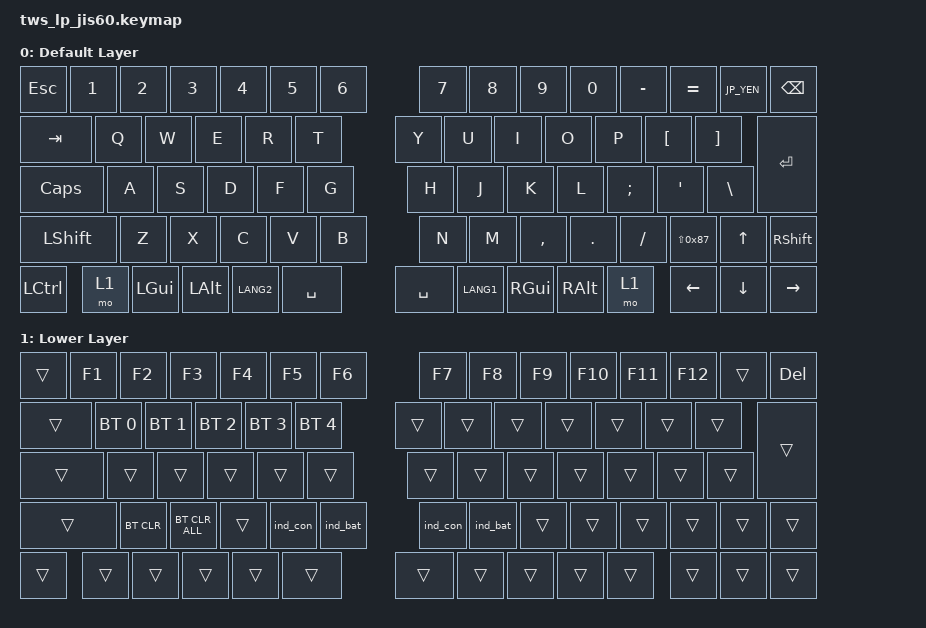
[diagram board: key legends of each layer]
#include <behaviors.dtsi>
#include <dt-bindings/zmk/keys.h>
#include <dt-bindings/zmk/bt.h>
#include <behaviors/rgbled_widget.dtsi>

// JIS keyboard layout conversion definitions
// Reference: https://note.com/kloir_z/n/n314e739f03a1
#define JP_CARET EQUAL       // ^
#define JP_AT LEFT_BRACKET   // @
#define JP_COLON SINGLE_QUOTE // :
#define JP_LBRACKET RIGHT_BRACKET // [
#define JP_RBRACKET BACKSLASH     // ]
#define JP_YEN      0x89          // ¥
#define JP_UNDSCR   LS(0x87)      // _

/ {
    keymap {
        compatible = "zmk,keymap";

        default_layer {
            display-name = "Default Layer";
// -----------------------------------------------------------------------------------------
// | ESC |   1   |  2  |  3  |  4  |  5  |  6  |     |  7  |  8  |  9  |  0  |  -  |  ^  |  \  |  BSPC |
//       |  TAB  |  Q  |  W  |  E  |  R  |  T  |     |  Y  |  U  |  I  |  O  |  P  |  @  |  [  | ENTER |
//       | CAPS  |  A  |  S  |  D  |  F  |  G  |     |  H  |  J  |  K  |  L  |  ;  |  :  |  ]  |
//       | SHIFT |  Z  |  X  |  C  |  V  |  B  |     |  N  |  M  |  ,  |  .  |  /  |  \  |  ↑  | SHIFT |
//       |  CTRL |  Fn | GUI | ALT |EISU | SPC |     | SPC | KANA| GUI | ALT |  Fn |  ←  |  ↓  |   →   |
            bindings = <
&kp ESC &kp N1    &kp N2 &kp N3   &kp N4   &kp N5    &kp N6       &kp N7    &kp N8    &kp N9    &kp N0   &kp MINUS &kp JP_CARET &kp JP_YEN      &kp BSPC
        &kp TAB   &kp Q  &kp W    &kp E    &kp R     &kp T        &kp Y     &kp U     &kp I     &kp O    &kp P     &kp JP_AT    &kp JP_LBRACKET &kp ENTER
        &kp CAPS  &kp A  &kp S    &kp D    &kp F     &kp G        &kp H     &kp J     &kp K     &kp L    &kp SEMI  &kp JP_COLON &kp JP_RBRACKET
        &kp LSHFT &kp Z  &kp X    &kp C    &kp V     &kp B        &kp N     &kp M     &kp COMMA &kp DOT  &kp FSLH  &kp JP_UNDSCR &kp UP          &kp RSHFT
        &kp LCTRL &mo 1  &kp LGUI &kp LALT &kp LANG2 &kp SPACE    &kp SPACE &kp LANG1 &kp RGUI  &kp RALT &mo 1     &kp LEFT     &kp DOWN        &kp RIGHT
            >;
        };

        lower_layer {
            display-name = "Lower Layer";
// -----------------------------------------------------------------------------------------
// |     |   F1  |  F2 |  F3 |  F4 |  F5 |  F6 |       |  F7 |  F8 |  F9 | F10 | F11 | F12 |     | DEL |
//       |       | BT1 | BT2 | BT3 | BT4 | BT5 |       |     |     |     |     |     |     |     |     |
//       |       |     |     |     |     |     |       |     |     |     |     |     |     |     |
//       |       | CLR |CLRAL|     | CON | BAT |       | CON | BAT |     |     |     |     |     |
//       |       |     |     |     |     |     |       |     |     |     |     |     |     |     |
            bindings = <
&trans  &kp F1 &kp F2       &kp F3         &kp F4       &kp F5       &kp F6             &kp F7   &kp F8   &kp F9 &kp F10 &kp F11 &kp F12 &trans  &kp DEL
        &trans &bt BT_SEL 0 &bt BT_SEL 1   &bt BT_SEL 2 &bt BT_SEL 3 &bt BT_SEL 4       &trans   &trans   &trans &trans  &trans  &trans  &trans  &trans
        &trans &trans       &trans         &trans       &trans       &trans             &trans   &trans   &trans &trans  &trans  &trans  &trans
        &trans &bt BT_CLR   &bt BT_CLR_ALL &trans       &ind_con     &ind_bat           &ind_con &ind_bat &trans &trans  &trans  &trans  &trans  &trans
        &trans &trans       &trans         &trans       &trans       &trans             &trans   &trans   &trans &trans  &trans  &trans  &trans  &trans
            >;
        };
    };
};
